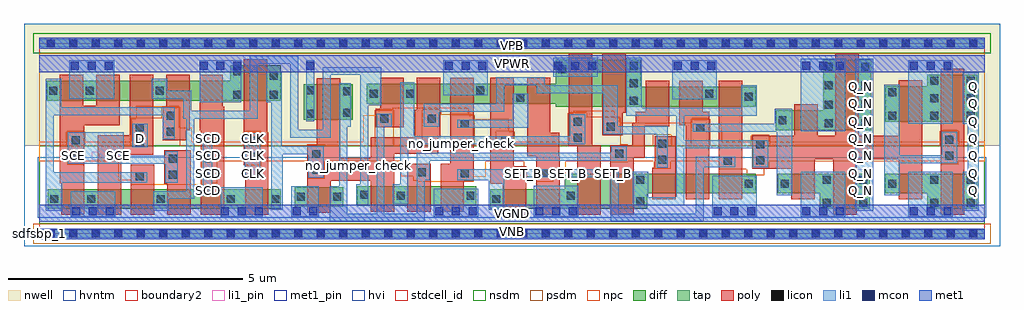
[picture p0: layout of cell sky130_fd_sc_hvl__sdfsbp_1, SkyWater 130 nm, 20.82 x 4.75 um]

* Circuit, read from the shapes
.subckt sky130_fd_sc_hvl__sdfsbp_1 CLK D Q Q_N SCD SCE SET_B VGND VNB VPB VPWR
XM1 VGND SCE n1 VNB sky130_fd_pr__nfet_g5v0d10v5 w=0.42 l=0.5
XM2 n2 D VGND VNB sky130_fd_pr__nfet_g5v0d10v5 w=0.42 l=0.5
XM3 n3 n1 n2 VNB sky130_fd_pr__nfet_g5v0d10v5 w=0.42 l=0.5
XM4 n4 SCE n3 VNB sky130_fd_pr__nfet_g5v0d10v5 w=0.42 l=0.5
XM5 VGND SCD n4 VNB sky130_fd_pr__nfet_g5v0d10v5 w=0.42 l=0.5
XM6 n5 CLK VGND VNB sky130_fd_pr__nfet_g5v0d10v5 w=0.42 l=0.5
XM7 n6 n5 VGND VNB sky130_fd_pr__nfet_g5v0d10v5 w=0.42 l=0.5
XM8 n7 n5 n3 VNB sky130_fd_pr__nfet_g5v0d10v5 w=0.42 l=0.5
XM9 n8 n6 n7 VNB sky130_fd_pr__nfet_g5v0d10v5 w=0.42 l=0.5
XM10 VGND n9 n8 VNB sky130_fd_pr__nfet_g5v0d10v5 w=0.42 l=0.5
XM11 n10 n7 n9 VNB sky130_fd_pr__nfet_g5v0d10v5 w=0.42 l=0.5
XM12 VGND SET_B n10 VNB sky130_fd_pr__nfet_g5v0d10v5 w=0.42 l=0.5
XM13 n11 n7 VGND VNB sky130_fd_pr__nfet_g5v0d10v5 w=0.75 l=0.5
XM14 n12 n6 n11 VNB sky130_fd_pr__nfet_g5v0d10v5 w=0.75 l=0.5
XM15 n13 n5 n12 VNB sky130_fd_pr__nfet_g5v0d10v5 w=0.42 l=0.5
XM16 n14 n15 n13 VNB sky130_fd_pr__nfet_g5v0d10v5 w=0.42 l=0.5
XM17 VGND SET_B n14 VNB sky130_fd_pr__nfet_g5v0d10v5 w=0.42 l=0.5
XM18 VGND n12 n15 VNB sky130_fd_pr__nfet_g5v0d10v5 w=0.42 l=0.5
XM19 Q_N n12 VGND VNB sky130_fd_pr__nfet_g5v0d10v5 w=0.75 l=0.5
XM20 VGND n12 n16 VNB sky130_fd_pr__nfet_g5v0d10v5 w=0.42 l=0.5
XM21 Q n16 VGND VNB sky130_fd_pr__nfet_g5v0d10v5 w=0.75 l=0.5
XM22 VPWR SCE n1 VPB sky130_fd_pr__pfet_g5v0d10v5 w=0.42 l=0.5
XM23 n17 SCE VPWR VPB sky130_fd_pr__pfet_g5v0d10v5 w=0.42 l=0.5
XM24 n3 D n17 VPB sky130_fd_pr__pfet_g5v0d10v5 w=0.42 l=0.5
XM25 n18 n1 n3 VPB sky130_fd_pr__pfet_g5v0d10v5 w=0.42 l=0.5
XM26 VPWR SCD n18 VPB sky130_fd_pr__pfet_g5v0d10v5 w=0.42 l=0.5
XM27 n5 CLK VPWR VPB sky130_fd_pr__pfet_g5v0d10v5 w=0.75 l=0.5
XM28 n6 n5 VPWR VPB sky130_fd_pr__pfet_g5v0d10v5 w=0.75 l=0.5
XM29 n7 n6 n3 VPB sky130_fd_pr__pfet_g5v0d10v5 w=0.42 l=0.5
XM30 n19 n5 n7 VPB sky130_fd_pr__pfet_g5v0d10v5 w=0.42 l=0.5
XM31 VPWR n9 n19 VPB sky130_fd_pr__pfet_g5v0d10v5 w=0.42 l=0.5
XM32 n9 n7 VPWR VPB sky130_fd_pr__pfet_g5v0d10v5 w=0.42 l=0.5
XM33 VPWR SET_B n9 VPB sky130_fd_pr__pfet_g5v0d10v5 w=0.42 l=0.5
XM34 n20 n7 VPWR VPB sky130_fd_pr__pfet_g5v0d10v5 w=1 l=0.5
XM35 n12 n5 n20 VPB sky130_fd_pr__pfet_g5v0d10v5 w=1 l=0.5
XM36 n21 n6 n12 VPB sky130_fd_pr__pfet_g5v0d10v5 w=0.42 l=0.5
XM37 VPWR n15 n21 VPB sky130_fd_pr__pfet_g5v0d10v5 w=0.42 l=0.5
XM38 n12 SET_B VPWR VPB sky130_fd_pr__pfet_g5v0d10v5 w=0.42 l=0.5
XM39 VPWR n12 n15 VPB sky130_fd_pr__pfet_g5v0d10v5 w=0.42 l=0.5
XM40 Q_N n12 VPWR VPB sky130_fd_pr__pfet_g5v0d10v5 w=1.5 l=0.5
XM41 VPWR n12 n16 VPB sky130_fd_pr__pfet_g5v0d10v5 w=0.75 l=0.5
XM42 Q n16 VPWR VPB sky130_fd_pr__pfet_g5v0d10v5 w=1 l=0.5
.ends

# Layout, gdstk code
import gdstk
lib = gdstk.Library(unit=1e-6, precision=1e-09)
def R(c, l, rs):  # rectangles x0, y0, x1, y1
    for r in rs: c.add(gdstk.rectangle(r[:2], r[2:], *l))
def A(c, l, x, y, w, h, nx, ny, dx, dy):  # array of equal rectangles
    R(c, l, [(x+i*dx, y+j*dy, x+i*dx+w, y+j*dy+h) for i in range(nx) for j in range(ny)])
def P(c, l, *ps):  # polygons
    for p in ps: c.add(gdstk.Polygon(p, *l))
nwell = (64, 20)
diff = (65, 20)
tap = (65, 44)
poly = (66, 20)
licon = (66, 44)
li1_pin = (67, 16)
li1 = (67, 20)
mcon = (67, 44)
met1_pin = (68, 16)
met1 = (68, 20)
hvi = (75, 20)
stdcell_id = (81, 4)
nsdm = (93, 44)
psdm = (94, 20)
npc = (95, 20)
hvntm = (125, 20)
boundary2 = (236, 0)

sky130_fd_sc_hvl__sdfsbp = lib.new_cell('sky130_fd_sc_hvl__sdfsbp_1')
R(sky130_fd_sc_hvl__sdfsbp, nwell, [(-0.33,1.885,20.49,4.485)])
R(sky130_fd_sc_hvl__sdfsbp, diff, [(0.175,0.535,5.15,0.955), (5.45,0.58,6.48,1), (6.78,0.6,9.32,1.02), (5.635,2.44,6.685,3.19)])
P(sky130_fd_sc_hvl__sdfsbp, diff, [(5.145,3.595),(4.075,3.595),(4.075,3.265),(0.15,3.265),(0.15,2.845),(5.145,2.845)],
  [(15.28,3.135),(12.825,3.135),(12.825,3.715),(11.01,3.715),(11.01,3.2),(6.985,3.2),(6.985,2.78),(11.01,2.78),(11.01,2.715),(15.28,2.715)],
  [(15.28,1.285),(11.205,1.285),(11.205,0.955),(9.62,0.955),(9.62,0.535),(12.965,0.535),(12.965,0.865),(15.28,0.865)],
  [(17.715,1.285),(15.75,1.285),(15.75,0.865),(16.645,0.865),(16.645,0.535),(17.715,0.535)],
  [(17.745,3.715),(16.715,3.715),(16.715,2.635),(15.705,2.635),(15.705,2.215),(17.745,2.215)],
  [(20.01,3.395),(18.94,3.395),(18.94,3.145),(18.045,3.145),(18.045,2.395),(20.01,2.395)],
  [(20.01,1.285),(18.045,1.285),(18.045,0.865),(18.94,0.865),(18.94,0.535),(20.01,0.535)])
R(sky130_fd_sc_hvl__sdfsbp, tap, [(0,-0.085,20.16,0.085), (0,3.985,20.16,4.155)])
R(sky130_fd_sc_hvl__sdfsbp, poly, [(1.95,0.405,2.45,1.48), (19.225,0.405,19.725,3.525), (7.845,0.47,8.345,1.5), (14.495,0.735,14.995,3.265)])
P(sky130_fd_sc_hvl__sdfsbp, poly, [(1.715,3.395),(1.215,3.395),(1.215,2.735),(0.935,2.735),(0.935,3.395),(0.435,3.395),(0.435,1.085),(0.46,1.085),(0.46,0.405),(0.96,0.405),(0.96,2.32),(1.715,2.32)],
  [(2.425,3.395),(1.925,3.395),(1.925,2.11),(1.24,2.11),(1.24,0.405),(1.74,0.405),(1.74,1.69),(2.425,1.69)],
  [(3.205,3.395),(2.705,3.395),(2.705,2.715),(2.635,2.715),(2.635,1.995),(3.135,1.995),(3.135,2.215),(3.205,2.215)],
  [(3.23,1.785),(2.66,1.785),(2.66,1.075),(2.73,1.075),(2.73,0.405),(3.23,0.405)],
  [(3.94,2.715),(3.915,2.715),(3.915,3.395),(3.415,3.395),(3.415,2.215),(3.44,2.215),(3.44,0.405),(3.94,0.405)],
  [(4.885,2.17),(4.86,2.17),(4.86,3.725),(4.36,3.725),(4.36,1.46),(4.385,1.46),(4.385,0.405),(4.885,0.405)],
  [(7.77,3.33),(7.27,3.33),(7.27,2.67),(7.17,2.67),(7.17,2.27),(7.77,2.27)],
  [(8.55,3.33),(8.05,3.33),(8.05,2.65),(8.01,2.65),(8.01,2.06),(7.065,2.06),(7.065,1.63),(6.42,1.63),(6.42,3.32),(5.92,3.32),(5.92,1.89),(5.715,1.89),(5.715,0.45),(6.215,0.45),(6.215,1.13),(7.065,1.13),(7.065,0.47),(7.565,0.47),(7.565,1.71),(8.51,1.71),(8.51,2.06),(8.55,2.06)],
  [(9.26,3.33),(8.76,3.33),(8.76,1.5),(8.555,1.5),(8.555,0.47),(9.055,0.47),(9.055,1.13),(9.26,1.13)],
  [(10.385,1.445),(10.12,1.445),(10.12,3.33),(9.62,3.33),(9.62,1.065),(9.885,1.065),(9.885,0.405),(10.385,0.405)],
  [(11.095,1.655),(11.085,1.655),(11.085,2.155),(10.9,2.155),(10.9,3.33),(10.4,3.33),(10.4,1.655),(10.595,1.655),(10.595,0.405),(11.095,0.405)],
  [(11.97,1.895),(11.795,1.895),(11.795,3.845),(11.295,3.845),(11.295,1.865),(11.47,1.865),(11.47,0.405),(11.97,0.405)],
  [(12.505,3.845),(12.005,3.845),(12.005,2.105),(12.44,2.105),(12.44,2.585),(12.505,2.585)],
  [(13.435,3.265),(12.935,3.265),(12.935,2.605),(12.715,2.605),(12.715,2.375),(12.65,2.375),(12.65,1.895),(12.18,1.895),(12.18,0.405),(12.68,0.405),(12.68,1.625),(12.91,1.625),(12.91,2.295),(13.435,2.295)],
  [(13.575,2.085),(13.12,2.085),(13.12,1.415),(13.075,1.415),(13.075,0.735),(13.575,0.735)],
  [(14.285,2.605),(14.145,2.605),(14.145,3.265),(13.645,3.265),(13.645,2.315),(13.785,2.315),(13.785,0.735),(14.285,0.735)],
  [(18.83,3.275),(18.33,3.275),(18.33,2.095),(17.48,2.095),(17.48,3.845),(16.98,3.845),(16.98,2.095),(16.605,2.095),(16.605,2.765),(16.105,2.765),(16.105,2.095),(15.205,2.095),(15.205,1.395),(16.035,1.395),(16.035,0.735),(16.535,0.735),(16.535,1.595),(16.93,1.595),(16.93,0.405),(17.43,0.405),(17.43,1.595),(18.33,1.595),(18.33,0.735),(18.83,0.735)])
A(sky130_fd_sc_hvl__sdfsbp, licon, 0.155, -0.085, 0.17, 0.17, 42, 2, 0.48, 4.07)
A(sky130_fd_sc_hvl__sdfsbp, licon, 1.015, 0.66, 0.17, 0.17, 3, 1, 1.49, 0)
A(sky130_fd_sc_hvl__sdfsbp, licon, 19, 2.435, 0.17, 0.17, 1, 3, 0, 0.375)
A(sky130_fd_sc_hvl__sdfsbp, licon, 19.78, 2.435, 0.17, 0.17, 1, 3, 0, 0.375)
A(sky130_fd_sc_hvl__sdfsbp, licon, 12.595, 2.755, 0.17, 0.17, 1, 3, 0, 0.375)
R(sky130_fd_sc_hvl__sdfsbp, licon, [(16.705,0.575,16.875,0.745), (17.485,0.575,17.655,0.745), (19,0.575,19.17,0.745), (19.78,0.575,19.95,0.745), (12.735,0.615,12.905,0.785), (0.235,0.66,0.405,0.83), (4.94,0.66,5.11,0.83), (9.66,0.66,9.83,0.83), (5.49,0.705,5.66,0.875), (6.27,0.705,6.44,0.875), (7.62,0.725,7.79,0.895), (9.11,0.725,9.28,0.895), (11.245,0.725,11.415,0.895), (6.84,0.75,7.01,0.92), (15.05,0.99,15.22,1.16), (15.81,0.99,15.98,1.16), (18.105,0.99,18.275,1.16), (12.735,1.075,12.905,1.245), (16.705,1.075,16.875,1.245), (17.485,1.075,17.655,1.245), (19,1.075,19.17,1.245), (19.78,1.075,19.95,1.245), (2.05,1.145,2.22,1.315), (2.76,1.175,2.93,1.345), (3.52,1.185,3.69,1.355), (8.99,1.21,9.16,1.38), (10.695,1.21,10.865,1.38), (8.075,1.23,8.245,1.4), (5.815,1.28,5.985,1.45), (14.595,1.475,14.765,1.645), (15.295,1.485,15.465,1.655), (13.2,1.495,13.37,1.665), (2.76,1.515,2.93,1.685), (3.52,1.525,3.69,1.695), (4.46,1.56,4.63,1.73), (0.69,1.575,0.86,1.745), (19.325,1.585,19.495,1.755), (5.815,1.62,5.985,1.79), (12.28,1.625,12.45,1.795), (15.295,1.825,15.465,1.995), (13.2,1.835,13.37,2.005), (2.055,1.845,2.225,2.015), (4.46,1.9,4.63,2.07), (9.85,1.91,10.02,2.08), (0.69,1.915,0.86,2.085), (19.325,1.925,19.495,2.095), (11.395,1.965,11.565,2.135), (2.715,2.095,2.885,2.265), (14.015,2.175,14.185,2.345), (2.055,2.185,2.225,2.355), (12.105,2.205,12.275,2.375), (8.99,2.26,9.16,2.43), (16.755,2.275,16.925,2.445), (17.535,2.275,17.705,2.445), (11.395,2.305,11.565,2.475), (15.765,2.34,15.935,2.51), (7.27,2.37,7.44,2.54), (8.28,2.37,8.45,2.54), (2.715,2.435,2.885,2.605), (18.105,2.435,18.275,2.605), (5.695,2.48,5.865,2.65), (6.475,2.5,6.645,2.67), (16.755,2.675,16.925,2.845), (17.535,2.675,17.705,2.845), (10.175,2.82,10.345,2.99), (15.05,2.84,15.22,3.01), (4.135,2.885,4.305,3.055), (4.915,2.885,5.085,3.055), (14.2,2.9,14.37,3.07), (7.045,2.905,7.215,3.075), (7.825,2.905,7.995,3.075), (18.105,2.935,18.275,3.105), (6.475,2.96,6.645,3.13), (0.21,2.97,0.38,3.14), (0.99,2.97,1.16,3.14), (2.48,2.97,2.65,3.14), (9.315,2.975,9.485,3.145), (5.695,2.98,5.865,3.15), (16.755,3.085,16.925,3.255), (17.535,3.085,17.705,3.255), (4.915,3.285,5.085,3.455), (4.135,3.385,4.305,3.555), (11.07,3.425,11.24,3.595), (16.755,3.485,16.925,3.655), (17.535,3.485,17.705,3.655)])
A(sky130_fd_sc_hvl__sdfsbp, li1_pin, 3.515, 0.84, 0.17, 0.17, 1, 4, 0, 0.37)
A(sky130_fd_sc_hvl__sdfsbp, li1_pin, 17.435, 0.84, 0.17, 0.17, 1, 7, 0, 0.37)
A(sky130_fd_sc_hvl__sdfsbp, li1_pin, 19.835, 0.84, 0.17, 0.17, 1, 7, 0, 0.37)
A(sky130_fd_sc_hvl__sdfsbp, li1_pin, 4.475, 1.21, 0.17, 0.17, 1, 3, 0, 0.37)
A(sky130_fd_sc_hvl__sdfsbp, li1_pin, 10.235, 1.21, 0.17, 0.17, 5, 1, 0.48, 0)
A(sky130_fd_sc_hvl__sdfsbp, li1_pin, 0.635, 1.58, 0.17, 0.17, 3, 1, 0.48, 0)
R(sky130_fd_sc_hvl__sdfsbp, li1_pin, [(2.075,1.95,2.245,2.12)])
R(sky130_fd_sc_hvl__sdfsbp, li1, [(0,-0.085,20.16,0.085), (0.665,0.365,1.615,0.915), (3.87,0.365,4.76,0.995), (5.37,0.365,5.96,1.02), (8.41,0.365,9.36,0.96), (10.545,0.365,11.495,1.03), (14.35,0.365,15.3,1.245), (16.24,0.365,17.19,1.325), (18.535,0.365,19.485,1.325), (17.405,0.495,17.785,3.735), (3.485,0.81,3.69,2.15), (4.38,1.18,4.71,2.15), (1.975,1.845,2.305,2.355), (16.24,2.195,17.19,3.735), (18.535,2.355,19.485,3.705), (5.695,2.4,5.865,3.705), (3.415,2.805,4.305,3.705), (13.5,2.875,14.45,3.705), (0.64,2.885,1.59,3.705), (8.615,2.96,9.565,3.705), (10.955,3.35,11.905,3.755), (0,3.985,20.16,4.155)])
P(sky130_fd_sc_hvl__sdfsbp, li1, [(2.885,2.705),(0.46,2.705),(0.46,3.305),(0.13,3.305),(0.13,0.495),(0.485,0.495),(0.485,1.095),(2.3,1.095),(2.3,1.315),(0.3,1.315),(0.3,2.535),(2.635,2.535),(2.635,2.015),(2.885,2.015)],
  [(2.955,1.765),(2.68,1.765),(2.68,1.665),(1.795,1.665),(1.795,2.165),(0.605,2.165),(0.605,1.495),(2.68,1.495),(2.68,1.095),(2.955,1.095)],
  [(6.065,1.87),(5.165,1.87),(5.165,3.455),(4.835,3.455),(4.835,2.805),(4.94,2.805),(4.94,0.515),(5.19,0.515),(5.19,1.7),(5.735,1.7),(5.735,1.2),(6.065,1.2)],
  [(7.295,3.56),(6.045,3.56),(6.045,2.22),(5.515,2.22),(5.515,3.805),(4.485,3.805),(4.485,2.625),(3.235,2.625),(3.235,3.055),(2.73,3.055),(2.73,3.305),(2.4,3.305),(2.4,2.885),(3.065,2.885),(3.065,2.455),(3.135,2.455),(3.135,0.915),(2.425,0.915),(2.425,0.495),(2.755,0.495),(2.755,0.745),(3.305,0.745),(3.305,2.455),(4.655,2.455),(4.655,3.635),(5.345,3.635),(5.345,2.05),(6.215,2.05),(6.215,3.39),(6.84,3.39),(6.84,1.06),(6.76,1.06),(6.76,0.615),(7.01,0.615),(7.01,2.74),(7.295,2.74)],
  [(9.91,1.38),(8.91,1.38),(8.91,1.14),(9.58,1.14),(9.58,0.515),(9.91,0.515)],
  [(10.425,2.99),(10.095,2.99),(10.095,2.43),(8.91,2.43),(8.91,2.26),(10.425,2.26)],
  [(11.645,2.555),(11.315,2.555),(11.315,2.08),(7.995,2.08),(7.995,3.24),(7.7,3.24),(7.7,1.06),(7.54,1.06),(7.54,0.64),(7.87,0.64),(7.87,1.91),(11.645,1.91)],
  [(12.53,1.875),(12.2,1.875),(12.2,1.73),(8.05,1.73),(8.05,0.435),(7.36,0.435),(7.36,2.29),(7.52,2.29),(7.52,2.56),(7.19,2.56),(7.19,0.435),(6.565,0.435),(6.565,2.29),(6.645,2.29),(6.645,3.21),(6.395,3.21),(6.395,1.02),(6.19,1.02),(6.19,0.265),(8.22,0.265),(8.22,1.15),(8.325,1.15),(8.325,1.56),(12.53,1.56)],
  [(13.405,2.295),(12.335,2.295),(12.335,3.17),(10.775,3.17),(10.775,3.34),(9.745,3.34),(9.745,2.78),(8.2,2.78),(8.2,2.29),(8.53,2.29),(8.53,2.61),(9.915,2.61),(9.915,3.17),(10.605,3.17),(10.605,3),(12.025,3),(12.025,2.125),(13.165,2.125),(13.165,1.415),(13.405,1.415)],
  [(14.845,1.645),(14,1.645),(14,0.435),(12.355,0.435),(12.355,1.38),(10.205,1.38),(10.205,1.21),(12.185,1.21),(12.185,0.265),(14.17,0.265),(14.17,1.425),(14.845,1.425)],
  [(15.545,1.995),(13.755,1.995),(13.755,2.525),(15.3,2.525),(15.3,3.175),(14.97,3.175),(14.97,2.695),(12.845,2.695),(12.845,3.755),(12.515,3.755),(12.515,2.525),(13.585,2.525),(13.585,0.785),(12.985,0.785),(12.985,1.325),(12.655,1.325),(12.655,0.615),(13.755,0.615),(13.755,1.825),(15.215,1.825),(15.215,1.425),(15.545,1.425)],
  [(16.06,2.675),(15.685,2.675),(15.685,2.345),(13.935,2.345),(13.935,2.175),(15.73,2.175),(15.73,0.825),(16.06,0.825)],
  [(19.575,2.175),(19.245,2.175),(19.245,1.675),(18.355,1.675),(18.355,3.185),(18.025,3.185),(18.025,0.825),(18.355,0.825),(18.355,1.505),(19.575,1.505)],
  [(20.035,3.435),(19.7,3.435),(19.7,2.355),(19.805,2.355),(19.805,1.325),(19.7,1.325),(19.7,0.495),(20.035,0.495)])
A(sky130_fd_sc_hvl__sdfsbp, mcon, 0.695, 0.395, 0.17, 0.17, 3, 1, 0.36, 0)
A(sky130_fd_sc_hvl__sdfsbp, mcon, 3.87, 0.395, 0.17, 0.17, 3, 1, 0.36, 0)
A(sky130_fd_sc_hvl__sdfsbp, mcon, 8.44, 0.395, 0.17, 0.17, 3, 1, 0.36, 0)
A(sky130_fd_sc_hvl__sdfsbp, mcon, 10.575, 0.395, 0.17, 0.17, 3, 1, 0.36, 0)
A(sky130_fd_sc_hvl__sdfsbp, mcon, 14.38, 0.395, 0.17, 0.17, 3, 1, 0.36, 0)
A(sky130_fd_sc_hvl__sdfsbp, mcon, 16.27, 0.395, 0.17, 0.17, 3, 2, 0.36, 3.11)
A(sky130_fd_sc_hvl__sdfsbp, mcon, 18.565, 0.395, 0.17, 0.17, 3, 2, 0.36, 3.11)
A(sky130_fd_sc_hvl__sdfsbp, mcon, 0.67, 3.505, 0.17, 0.17, 3, 1, 0.36, 0)
A(sky130_fd_sc_hvl__sdfsbp, mcon, 3.415, 3.505, 0.17, 0.17, 3, 1, 0.36, 0)
A(sky130_fd_sc_hvl__sdfsbp, mcon, 8.645, 3.505, 0.17, 0.17, 3, 1, 0.36, 0)
A(sky130_fd_sc_hvl__sdfsbp, mcon, 10.985, 3.505, 0.17, 0.17, 3, 1, 0.36, 0)
A(sky130_fd_sc_hvl__sdfsbp, mcon, 13.53, 3.505, 0.17, 0.17, 3, 1, 0.36, 0)
R(sky130_fd_sc_hvl__sdfsbp, mcon, [(0.155,-0.085,0.325,0.085), (0.155,-0.085,0.325,0.085), (0.635,-0.085,0.805,0.085), (0.635,-0.085,0.805,0.085), (1.115,-0.085,1.285,0.085), (1.115,-0.085,1.285,0.085), (1.595,-0.085,1.765,0.085), (1.595,-0.085,1.765,0.085), (2.075,-0.085,2.245,0.085), (2.075,-0.085,2.245,0.085), (2.555,-0.085,2.725,0.085), (2.555,-0.085,2.725,0.085), (3.035,-0.085,3.205,0.085), (3.035,-0.085,3.205,0.085), (3.515,-0.085,3.685,0.085), (3.515,-0.085,3.685,0.085), (3.995,-0.085,4.165,0.085), (3.995,-0.085,4.165,0.085), (4.475,-0.085,4.645,0.085), (4.475,-0.085,4.645,0.085), (4.955,-0.085,5.125,0.085), (4.955,-0.085,5.125,0.085), (5.435,-0.085,5.605,0.085), (5.435,-0.085,5.605,0.085), (5.915,-0.085,6.085,0.085), (5.915,-0.085,6.085,0.085), (6.395,-0.085,6.565,0.085), (6.395,-0.085,6.565,0.085), (6.875,-0.085,7.045,0.085), (6.875,-0.085,7.045,0.085), (7.355,-0.085,7.525,0.085), (7.355,-0.085,7.525,0.085), (7.835,-0.085,8.005,0.085), (7.835,-0.085,8.005,0.085), (8.315,-0.085,8.485,0.085), (8.315,-0.085,8.485,0.085), (8.795,-0.085,8.965,0.085), (8.795,-0.085,8.965,0.085), (9.275,-0.085,9.445,0.085), (9.275,-0.085,9.445,0.085), (9.755,-0.085,9.925,0.085), (9.755,-0.085,9.925,0.085), (10.235,-0.085,10.405,0.085), (10.235,-0.085,10.405,0.085), (10.715,-0.085,10.885,0.085), (10.715,-0.085,10.885,0.085), (11.195,-0.085,11.365,0.085), (11.195,-0.085,11.365,0.085), (11.675,-0.085,11.845,0.085), (11.675,-0.085,11.845,0.085), (12.155,-0.085,12.325,0.085), (12.155,-0.085,12.325,0.085), (12.635,-0.085,12.805,0.085), (12.635,-0.085,12.805,0.085), (13.115,-0.085,13.285,0.085), (13.115,-0.085,13.285,0.085), (13.595,-0.085,13.765,0.085), (13.595,-0.085,13.765,0.085), (14.075,-0.085,14.245,0.085), (14.075,-0.085,14.245,0.085), (14.555,-0.085,14.725,0.085), (14.555,-0.085,14.725,0.085), (15.035,-0.085,15.205,0.085), (15.035,-0.085,15.205,0.085), (15.515,-0.085,15.685,0.085), (15.515,-0.085,15.685,0.085), (15.995,-0.085,16.165,0.085), (15.995,-0.085,16.165,0.085), (16.475,-0.085,16.645,0.085), (16.475,-0.085,16.645,0.085), (16.955,-0.085,17.125,0.085), (16.955,-0.085,17.125,0.085), (17.435,-0.085,17.605,0.085), (17.435,-0.085,17.605,0.085), (17.915,-0.085,18.085,0.085), (17.915,-0.085,18.085,0.085), (18.395,-0.085,18.565,0.085), (18.395,-0.085,18.565,0.085), (18.875,-0.085,19.045,0.085), (18.875,-0.085,19.045,0.085), (19.355,-0.085,19.525,0.085), (19.355,-0.085,19.525,0.085), (19.835,-0.085,20.005,0.085), (19.835,-0.085,20.005,0.085), (5.4,0.395,5.57,0.565), (5.76,0.395,5.93,0.565), (5.695,3.505,5.865,3.675), (0.155,3.985,0.325,4.155), (0.155,3.985,0.325,4.155), (0.635,3.985,0.805,4.155), (0.635,3.985,0.805,4.155), (1.115,3.985,1.285,4.155), (1.115,3.985,1.285,4.155), (1.595,3.985,1.765,4.155), (1.595,3.985,1.765,4.155), (2.075,3.985,2.245,4.155), (2.075,3.985,2.245,4.155), (2.555,3.985,2.725,4.155), (2.555,3.985,2.725,4.155), (3.035,3.985,3.205,4.155), (3.035,3.985,3.205,4.155), (3.515,3.985,3.685,4.155), (3.515,3.985,3.685,4.155), (3.995,3.985,4.165,4.155), (3.995,3.985,4.165,4.155), (4.475,3.985,4.645,4.155), (4.475,3.985,4.645,4.155), (4.955,3.985,5.125,4.155), (4.955,3.985,5.125,4.155), (5.435,3.985,5.605,4.155), (5.435,3.985,5.605,4.155), (5.915,3.985,6.085,4.155), (5.915,3.985,6.085,4.155), (6.395,3.985,6.565,4.155), (6.395,3.985,6.565,4.155), (6.875,3.985,7.045,4.155), (6.875,3.985,7.045,4.155), (7.355,3.985,7.525,4.155), (7.355,3.985,7.525,4.155), (7.835,3.985,8.005,4.155), (7.835,3.985,8.005,4.155), (8.315,3.985,8.485,4.155), (8.315,3.985,8.485,4.155), (8.795,3.985,8.965,4.155), (8.795,3.985,8.965,4.155), (9.275,3.985,9.445,4.155), (9.275,3.985,9.445,4.155), (9.755,3.985,9.925,4.155), (9.755,3.985,9.925,4.155), (10.235,3.985,10.405,4.155), (10.235,3.985,10.405,4.155), (10.715,3.985,10.885,4.155), (10.715,3.985,10.885,4.155), (11.195,3.985,11.365,4.155), (11.195,3.985,11.365,4.155), (11.675,3.985,11.845,4.155), (11.675,3.985,11.845,4.155), (12.155,3.985,12.325,4.155), (12.155,3.985,12.325,4.155), (12.635,3.985,12.805,4.155), (12.635,3.985,12.805,4.155), (13.115,3.985,13.285,4.155), (13.115,3.985,13.285,4.155), (13.595,3.985,13.765,4.155), (13.595,3.985,13.765,4.155), (14.075,3.985,14.245,4.155), (14.075,3.985,14.245,4.155), (14.555,3.985,14.725,4.155), (14.555,3.985,14.725,4.155), (15.035,3.985,15.205,4.155), (15.035,3.985,15.205,4.155), (15.515,3.985,15.685,4.155), (15.515,3.985,15.685,4.155), (15.995,3.985,16.165,4.155), (15.995,3.985,16.165,4.155), (16.475,3.985,16.645,4.155), (16.475,3.985,16.645,4.155), (16.955,3.985,17.125,4.155), (16.955,3.985,17.125,4.155), (17.435,3.985,17.605,4.155), (17.435,3.985,17.605,4.155), (17.915,3.985,18.085,4.155), (17.915,3.985,18.085,4.155), (18.395,3.985,18.565,4.155), (18.395,3.985,18.565,4.155), (18.875,3.985,19.045,4.155), (18.875,3.985,19.045,4.155), (19.355,3.985,19.525,4.155), (19.355,3.985,19.525,4.155), (19.835,3.985,20.005,4.155), (19.835,3.985,20.005,4.155)])
R(sky130_fd_sc_hvl__sdfsbp, met1_pin, [(0,0,20.16,0.115), (0,0.255,20.16,0.625), (0,3.445,20.16,3.815), (0,3.955,20.16,4.07)])
R(sky130_fd_sc_hvl__sdfsbp, met1, [(0,-0.115,20.16,0.115), (0,0.255,20.16,0.625), (0,3.445,20.16,3.815), (0,3.955,20.16,4.185)])
R(sky130_fd_sc_hvl__sdfsbp, hvi, [(-0.33,-0.265,20.49,4.485)])
R(sky130_fd_sc_hvl__sdfsbp, stdcell_id, [(0,0,20.16,4.07)])
R(sky130_fd_sc_hvl__sdfsbp, nsdm, [(0,0.215,20.16,1.885), (-0.13,3.855,20.29,4.285), (0,3.855,20.16,4.07)])
R(sky130_fd_sc_hvl__sdfsbp, psdm, [(-0.13,-0.215,20.29,0.215)])
P(sky130_fd_sc_hvl__sdfsbp, psdm, [(20.16,3.855),(0,3.855),(0,1.885),(0.58,1.885),(0.58,2.195),(0.97,2.195),(0.97,1.885),(1.945,1.885),(1.945,2.465),(2.605,2.465),(2.605,2.715),(2.995,2.715),(2.995,1.885),(4.35,1.885),(4.35,2.18),(4.74,2.18),(4.74,1.885),(5.705,1.885),(5.705,1.9),(6.095,1.9),(6.095,1.885),(7.16,1.885),(7.16,2.65),(7.55,2.65),(7.55,1.885),(8.17,1.885),(8.17,2.65),(8.56,2.65),(8.56,2.54),(9.27,2.54),(9.27,1.885),(9.74,1.885),(9.74,2.19),(10.13,2.19),(10.13,1.885),(11.285,1.885),(11.285,2.585),(11.675,2.585),(11.675,2.485),(12.385,2.485),(12.385,1.905),(12.56,1.905),(12.56,1.885),(13.09,1.885),(13.09,2.115),(13.48,2.115),(13.48,1.885),(13.905,1.885),(13.905,2.455),(14.295,2.455),(14.295,1.885),(15.185,1.885),(15.185,2.105),(15.575,2.105),(15.575,1.885),(19.215,1.885),(19.215,2.205),(19.605,2.205),(19.605,1.885),(20.16,1.885)])
P(sky130_fd_sc_hvl__sdfsbp, npc, [(20.16,1.97),(19.595,1.97),(19.595,2.195),(19.225,2.195),(19.225,1.97),(15.565,1.97),(15.565,2.095),(15.195,2.095),(15.195,1.97),(14.55,1.97),(14.55,2.34),(14.285,2.34),(14.285,2.445),(13.915,2.445),(13.915,2.37),(12.375,2.37),(12.375,2.475),(12.27,2.475),(12.27,2.625),(11.4,2.625),(11.4,2.575),(11.295,2.575),(11.295,1.97),(10.12,1.97),(10.12,2.18),(10.015,2.18),(10.015,2.445),(9.26,2.445),(9.26,2.53),(9.155,2.53),(9.155,2.69),(7.54,2.69),(7.54,2.64),(7.17,2.64),(7.17,2.535),(6.905,2.535),(6.905,1.97),(4.73,1.97),(4.73,2.17),(4.36,2.17),(4.36,1.97),(3.25,1.97),(3.25,2.26),(2.985,2.26),(2.985,2.705),(2.88,2.705),(2.88,2.72),(2.06,2.72),(2.06,2.455),(1.955,2.455),(1.955,1.97),(0.96,1.97),(0.96,2.185),(0.59,2.185),(0.59,1.97),(0,1.97),(0,1.545),(0.59,1.545),(0.59,1.475),(0.96,1.475),(0.96,1.545),(1.685,1.545),(1.685,1.15),(1.95,1.15),(1.95,1.045),(3.685,1.045),(3.685,1.085),(3.79,1.085),(3.79,1.545),(4.36,1.545),(4.36,1.46),(4.73,1.46),(4.73,1.545),(5.715,1.545),(5.715,1.18),(6.085,1.18),(6.085,1.545),(7.71,1.545),(7.71,1.235),(7.975,1.235),(7.975,1.13),(8.08,1.13),(8.08,1.11),(9.26,1.11),(9.26,1.215),(9.525,1.215),(9.525,1.545),(10.33,1.545),(10.33,1.215),(10.595,1.215),(10.595,1.11),(10.965,1.11),(10.965,1.215),(11.23,1.215),(11.23,1.545),(12.18,1.545),(12.18,1.525),(12.55,1.525),(12.55,1.545),(13.1,1.545),(13.1,1.395),(13.47,1.395),(13.47,1.545),(14.495,1.545),(14.495,1.375),(15.085,1.375),(15.085,1.25),(15.46,1.25),(15.46,1.385),(15.565,1.385),(15.565,1.545),(19.225,1.545),(19.225,1.485),(19.595,1.485),(19.595,1.545),(20.16,1.545)])
R(sky130_fd_sc_hvl__sdfsbp, hvntm, [(-0.035,0.35,20.195,1.64)])
R(sky130_fd_sc_hvl__sdfsbp, boundary2, [(0,0,20.16,4.07)])
sky130_fd_sc_hvl__sdfsbp.add(gdstk.Label('no_jumper_check', (8.995,1.93), layer=83, texttype=44))
sky130_fd_sc_hvl__sdfsbp.add(gdstk.Label('no_jumper_check', (6.815,1.455), layer=83, texttype=44))
sky130_fd_sc_hvl__sdfsbp.add(gdstk.Label('sdfsbp_1', (0,0), layer=83, texttype=44))
sky130_fd_sc_hvl__sdfsbp.add(gdstk.Label('VGND', (10.08,0.44), layer=68, texttype=5))
sky130_fd_sc_hvl__sdfsbp.add(gdstk.Label('VNB', (10.08,0.058), layer=68, texttype=5))
sky130_fd_sc_hvl__sdfsbp.add(gdstk.Label('VPWR', (10.08,3.63), layer=68, texttype=5))
sky130_fd_sc_hvl__sdfsbp.add(gdstk.Label('VPB', (10.08,4.013), layer=68, texttype=5))
sky130_fd_sc_hvl__sdfsbp.add(gdstk.Label('SCD', (3.6,0.925), layer=67, texttype=5))
sky130_fd_sc_hvl__sdfsbp.add(gdstk.Label('SCD', (3.6,1.295), layer=67, texttype=5))
sky130_fd_sc_hvl__sdfsbp.add(gdstk.Label('SCD', (3.6,1.665), layer=67, texttype=5))
sky130_fd_sc_hvl__sdfsbp.add(gdstk.Label('SCD', (3.6,2.035), layer=67, texttype=5))
sky130_fd_sc_hvl__sdfsbp.add(gdstk.Label('D', (2.16,2.035), layer=67, texttype=5))
sky130_fd_sc_hvl__sdfsbp.add(gdstk.Label('CLK', (4.56,1.295), layer=67, texttype=5))
sky130_fd_sc_hvl__sdfsbp.add(gdstk.Label('CLK', (4.56,1.665), layer=67, texttype=5))
sky130_fd_sc_hvl__sdfsbp.add(gdstk.Label('CLK', (4.56,2.035), layer=67, texttype=5))
sky130_fd_sc_hvl__sdfsbp.add(gdstk.Label('SCE', (0.72,1.665), layer=67, texttype=5))
sky130_fd_sc_hvl__sdfsbp.add(gdstk.Label('SCE', (1.2,1.665), layer=67, texttype=5))
sky130_fd_sc_hvl__sdfsbp.add(gdstk.Label('SCE', (1.68,1.665), layer=67, texttype=5))
sky130_fd_sc_hvl__sdfsbp.add(gdstk.Label('Q', (19.92,0.925), layer=67, texttype=5))
sky130_fd_sc_hvl__sdfsbp.add(gdstk.Label('Q', (19.92,1.295), layer=67, texttype=5))
sky130_fd_sc_hvl__sdfsbp.add(gdstk.Label('Q', (19.92,1.665), layer=67, texttype=5))
sky130_fd_sc_hvl__sdfsbp.add(gdstk.Label('Q', (19.92,2.035), layer=67, texttype=5))
sky130_fd_sc_hvl__sdfsbp.add(gdstk.Label('Q', (19.92,2.405), layer=67, texttype=5))
sky130_fd_sc_hvl__sdfsbp.add(gdstk.Label('Q', (19.92,2.775), layer=67, texttype=5))
sky130_fd_sc_hvl__sdfsbp.add(gdstk.Label('Q', (19.92,3.145), layer=67, texttype=5))
sky130_fd_sc_hvl__sdfsbp.add(gdstk.Label('Q_N', (17.52,0.925), layer=67, texttype=5))
sky130_fd_sc_hvl__sdfsbp.add(gdstk.Label('Q_N', (17.52,1.295), layer=67, texttype=5))
sky130_fd_sc_hvl__sdfsbp.add(gdstk.Label('Q_N', (17.52,1.665), layer=67, texttype=5))
sky130_fd_sc_hvl__sdfsbp.add(gdstk.Label('Q_N', (17.52,2.035), layer=67, texttype=5))
sky130_fd_sc_hvl__sdfsbp.add(gdstk.Label('Q_N', (17.52,2.405), layer=67, texttype=5))
sky130_fd_sc_hvl__sdfsbp.add(gdstk.Label('Q_N', (17.52,2.775), layer=67, texttype=5))
sky130_fd_sc_hvl__sdfsbp.add(gdstk.Label('Q_N', (17.52,3.145), layer=67, texttype=5))
sky130_fd_sc_hvl__sdfsbp.add(gdstk.Label('SET_B', (10.32,1.295), layer=67, texttype=5))
sky130_fd_sc_hvl__sdfsbp.add(gdstk.Label('SET_B', (10.8,1.295), layer=67, texttype=5))
sky130_fd_sc_hvl__sdfsbp.add(gdstk.Label('SET_B', (11.28,1.295), layer=67, texttype=5))
sky130_fd_sc_hvl__sdfsbp.add(gdstk.Label('SET_B', (11.76,1.295), layer=67, texttype=5))
sky130_fd_sc_hvl__sdfsbp.add(gdstk.Label('SET_B', (12.24,1.295), layer=67, texttype=5))

lib.write_gds('sky130_fd_sc_hvl__sdfsbp_1.gds')
